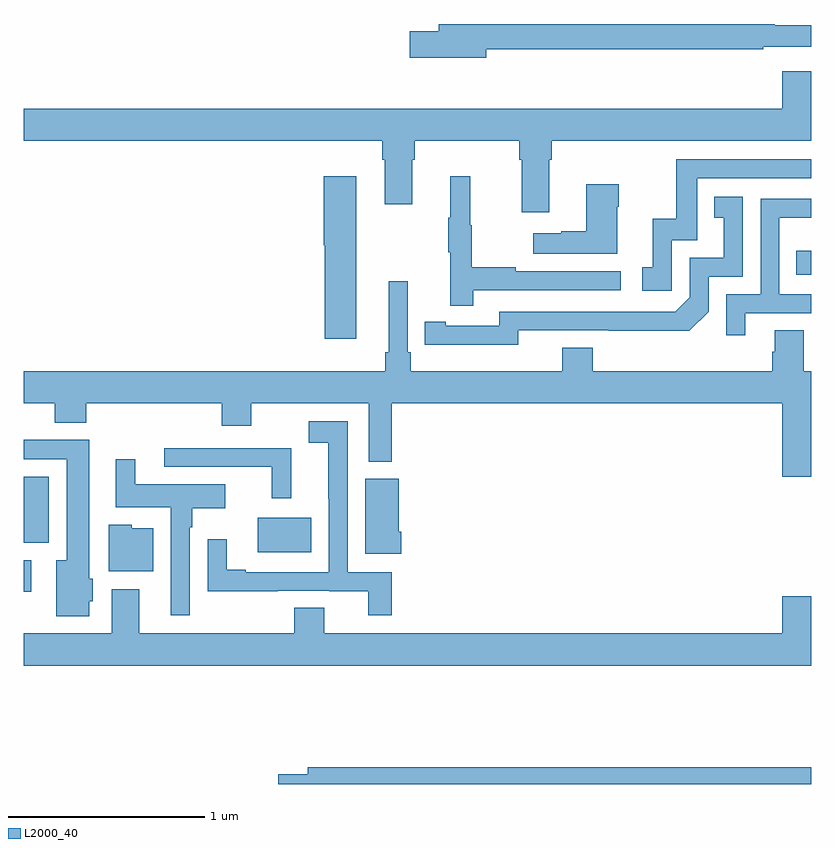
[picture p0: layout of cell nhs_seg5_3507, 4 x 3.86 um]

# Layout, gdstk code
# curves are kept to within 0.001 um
import gdstk
lib = gdstk.Library(unit=1e-6, precision=1e-09)
def R(c, l, rs):  # rectangles x0, y0, x1, y1
    for r in rs: c.add(gdstk.rectangle(r[:2], r[2:], *l))
def P(c, l, *ps):  # polygons
    for p in ps: c.add(gdstk.Polygon(p, *l))
L2000_40 = (2000, 40)

nhs_seg5_3507 = lib.new_cell('nhs_seg5_3507')
R(nhs_seg5_3507, L2000_40, [(317,883.776,317.038,883.935), (318.188,883.976,318.46,884.152), (317,884.024,317.128,884.359), (320.923,885.384,321,885.507)])
P(nhs_seg5_3507, L2000_40, [(319.348,886.53),(320.756,886.53),(320.756,886.542),(321,886.542),(321,886.651),(320.813,886.651),(320.813,886.658),(319.109,886.658),(319.109,886.622),(318.96,886.622),(318.96,886.487),(319.348,886.487)],
  [(319.669,885.968),(319.682,885.968),(319.682,886.064),(321,886.064),(321,886.417),(320.852,886.417),(320.852,886.228),(317,886.228),(317,886.064),(318.821,886.064),(318.821,885.968),(318.833,885.968),(318.833,885.744),(318.973,885.744),(318.973,885.968),(318.986,885.968),(318.986,886.064),(319.517,886.064),(319.517,885.968),(319.529,885.968),(319.529,885.702),(319.669,885.702)],
  [(320.292,885.561),(320.421,885.561),(320.421,885.876),(321,885.876),(321,885.972),(320.313,885.972),(320.313,885.67),(320.195,885.67),(320.195,885.423),(320.142,885.423),(320.142,885.303),(320.292,885.303)],
  [(318.688,885.886),(318.524,885.886),(318.524,885.534),(318.53,885.534),(318.53,885.06),(318.688,885.06)],
  [(319.283,885.306),(320.032,885.306),(320.032,885.402),(319.499,885.402),(319.499,885.422),(319.276,885.422),(319.276,885.636),(319.268,885.636),(319.268,885.886),(319.166,885.886),(319.166,885.673),(319.155,885.673),(319.155,885.499),(319.166,885.499),(319.166,885.228),(319.283,885.228)],
  [(320.014,885.731),(320.022,885.731),(320.022,885.844),(319.856,885.844),(319.856,885.605),(319.73,885.605),(319.73,885.595),(319.587,885.595),(319.587,885.491),(320.014,885.491)],
  [(319.512,885.102),(320.38,885.101),(320.478,885.198),(320.478,885.375),(320.652,885.375),(320.652,885.781),(320.506,885.781),(320.506,885.675),(320.555,885.675),(320.555,885.471),(320.382,885.471),(320.382,885.27),(320.31,885.198),(319.416,885.198),(319.416,885.126),(319.144,885.126),(319.144,885.146),(319.036,885.146),(319.036,885.03),(319.512,885.029)],
  [(320.665,885.189),(321,885.189),(321,885.285),(320.838,885.285),(320.838,885.674),(321,885.674),(321,885.771),(320.742,885.771),(320.742,885.285),(320.568,885.285),(320.568,885.078),(320.665,885.078)],
  [(321,884.896),(320.961,884.896),(320.961,885.104),(320.813,885.104),(320.813,884.994),(320.801,884.994),(320.801,884.896),(319.889,884.896),(319.889,885.013),(319.736,885.013),(319.736,884.896),(318.965,884.896),(318.965,884.992),(318.951,884.992),(318.951,885.352),(318.854,885.352),(318.854,884.992),(318.835,884.992),(318.835,884.896),(317,884.896),(317,884.732),(317.158,884.732),(317.158,884.633),(317.318,884.633),(317.318,884.732),(318.005,884.732),(318.005,884.618),(318.157,884.618),(318.157,884.732),(318.753,884.732),(318.753,884.435),(318.869,884.435),(318.869,884.732),(320.852,884.732),(320.852,884.358),(321,884.358)],
  [(318.869,883.875),(318.645,883.875),(318.645,884.64),(318.447,884.64),(318.447,884.532),(318.548,884.532),(318.548,884.248),(318.549,884.248),(318.549,883.875),(318.127,883.875),(318.127,883.888),(318.031,883.888),(318.031,884.041),(317.934,884.041),(317.934,883.778),(318.29,883.778),(318.29,883.779),(318.552,883.779),(318.552,883.778),(318.751,883.778),(318.751,883.656),(318.869,883.656)],
  [(317.332,883.728),(317.35,883.728),(317.35,883.842),(317.332,883.842),(317.332,884.546),(317,884.546),(317,884.448),(317.219,884.448),(317.219,883.936),(317.165,883.936),(317.165,883.65),(317.332,883.65)],
  [(318.359,884.505),(317.715,884.505),(317.715,884.409),(318.259,884.409),(318.259,884.25),(318.359,884.25)],
  [(317.844,884.102),(317.857,884.102),(317.857,884.198),(318.025,884.198),(318.025,884.32),(317.566,884.32),(317.566,884.449),(317.468,884.449),(317.468,884.204),(317.748,884.204),(317.748,883.656),(317.844,883.656)],
  [(318.917,884.08),(318.904,884.08),(318.904,884.35),(318.734,884.35),(318.734,883.968),(318.917,883.968)],
  [(317.659,884.098),(317.55,884.098),(317.55,884.116),(317.432,884.116),(317.432,883.88),(317.659,883.88)],
  [(321,883.753),(320.852,883.753),(320.852,883.564),(318.526,883.564),(318.526,883.694),(318.374,883.694),(318.374,883.564),(317.587,883.564),(317.587,883.789),(317.447,883.789),(317.447,883.564),(317,883.564),(317,883.4),(321,883.4)],
  [(321,882.884),(318.443,882.884),(318.443,882.848),(318.294,882.848),(318.294,882.799),(321,882.799)])

lib.write_gds('nhs_seg5_3507.gds')
